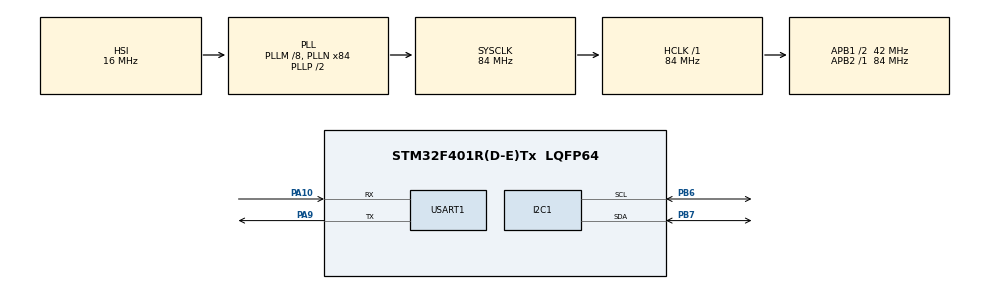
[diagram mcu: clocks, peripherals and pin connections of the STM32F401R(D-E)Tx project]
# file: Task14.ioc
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Mcu.Family=STM32F4
Mcu.Name=STM32F401R(D-E)Tx
Mcu.Package=LQFP64
NVIC.PriorityGroup=NVIC_PRIORITYGROUP_4
PA10.Mode=Asynchronous
PA10.Signal=USART1_RX
PA13.Mode=Serial_Wire
PA13.Signal=SYS_JTMS-SWDIO
PA14.Mode=Serial_Wire
PA14.Signal=SYS_JTCK-SWCLK
PA9.Mode=Asynchronous
PA9.Signal=USART1_TX
PB6.Mode=I2C
PB6.Signal=I2C1_SCL
PB7.Mode=I2C
PB7.Signal=I2C1_SDA
PH0\ -\ OSC_IN.Mode=HSE-External-Clock-Source
PH0\ -\ OSC_IN.Signal=RCC_OSC_IN
PH1\ -\ OSC_OUT.Mode=HSE-External-Clock-Source
PH1\ -\ OSC_OUT.Signal=RCC_OSC_OUT
ProjectManager.HeapSize=0x200
ProjectManager.StackSize=0x400
ProjectManager.TargetToolchain=MDK-ARM V5.32
RCC.48MHZClocksFreq_Value=42000000
RCC.AHBFreq_Value=84000000
RCC.APB1CLKDivider=RCC_HCLK_DIV2
RCC.APB1Freq_Value=42000000
RCC.APB1TimFreq_Value=84000000
RCC.APB2Freq_Value=84000000
RCC.APB2TimFreq_Value=84000000
RCC.CortexFreq_Value=84000000
RCC.HCLKFreq_Value=84000000
RCC.HSE_VALUE=25000000
RCC.HSI_VALUE=16000000
RCC.LSE_VALUE=32768
RCC.PLLM=8
RCC.PLLN=84
RCC.SYSCLKFreq_VALUE=84000000
RCC.SYSCLKSource=RCC_SYSCLKSOURCE_PLLCLK
RCC.VCOOutputFreq_Value=168000000
USART1.VirtualMode=VM_ASYNC
board=custom

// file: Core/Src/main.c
/* USER CODE BEGIN Header */
/**
  ******************************************************************************
  * @file           : main.c
  * @brief          : Main program body
  ******************************************************************************
  * @attention
  *
  * Copyright (c) 2026 STMicroelectronics.
  * All rights reserved.
  *
  * This software is licensed under terms that can be found in the LICENSE file
  * in the root directory of this software component.
  * If no LICENSE file comes with this software, it is provided AS-IS.
  *
  ******************************************************************************
  */
/* USER CODE END Header */

#include "main.h"

/* USER CODE BEGIN Includes */
#include <stdio.h>
#include "ESPLib.h"
#include "bme280.h"
#include "bme280_defs.h"

/* USER CODE END Includes */

I2C_HandleTypeDef hi2c1;

UART_HandleTypeDef huart1;

/* USER CODE BEGIN PV */

struct bme280_dev dev;  // dev -> stores sensor communication config
struct bme280_data comp_data; // stores compensated sensor reading

uint8_t dev_addr = BME280_I2C_ADDR_PRIM;   // I2C inital address

volatile int8_t rslt = BME280_OK;	// Stores success or failure
volatile uint8_t bmeReady = 0; // whether bme is ready or not

volatile double temperature = 0;
volatile double pressure = 0;
volatile double humidity = 0;
char mqttMessage[128];
/* USER CODE END PV */

void SystemClock_Config(void);
static void MX_GPIO_Init(void);
static void MX_I2C1_Init(void);
static void MX_USART1_UART_Init(void);

/* USER CODE BEGIN 0 */

// reads sensor data
int8_t user_i2c_read(uint8_t reg_addr, uint8_t *reg_data,
                     uint32_t len, void *intf_ptr)
{
    uint8_t addr = *(uint8_t *)intf_ptr;

    if (HAL_I2C_Mem_Read(&hi2c1, addr << 1, reg_addr,
                         I2C_MEMADD_SIZE_8BIT, reg_data,
                         (uint16_t)len, 1000) == HAL_OK)
    {
        return BME280_OK;
    }

    return BME280_E_COMM_FAIL;
}

// changes sensor settings
int8_t user_i2c_write(uint8_t reg_addr, const uint8_t *reg_data,
                      uint32_t len, void *intf_ptr)
{
    uint8_t addr = *(uint8_t *)intf_ptr;

    if (HAL_I2C_Mem_Write(&hi2c1, addr << 1, reg_addr,
                          I2C_MEMADD_SIZE_8BIT,
                          (uint8_t *)reg_data,
                          (uint16_t)len, 1000) == HAL_OK)
    {
        return BME280_OK;
    }

    return BME280_E_COMM_FAIL;
}
//  delay function

void user_delay_us(uint32_t period, void *intf_ptr)
{
    (void)intf_ptr;

    if (period > 0)
    {
        HAL_Delay(period / 1000 + (period % 1000 != 0));
    }
}

/* USER CODE END 0 */

int main(void)
{

  /* MCU Configuration--------------------------------------------------------*/

  /* Reset of all peripherals, Initializes the Flash interface and the Systick. */
  HAL_Init();

  /* Configure the system clock */
  SystemClock_Config();

  /* Initialize all configured peripherals */
  MX_GPIO_Init();
  MX_I2C1_Init();
  MX_USART1_UART_Init();

  /* USER CODE BEGIN 2 */

  // 1. Initialize the Wi-Fi module on USART1
  ESP8266_Init(StationMode, huart1);

  // 2. Connect to your local Wi-Fi network (Replace with your Router SSID and Password)
  ESP8266_wifiConnect("YOUR_WIFI_SSID", "YOUR_WIFI_PASSWORD");

  // 3. Connect to your MQTT Broker (Replace with your Broker's IP Address)
  // 1883 is the standard unencrypted MQTT port
  ESP8266_portConnect("TCP", "broker.emqx.io", "1883");

  // 4. Configure the MQTT client connection parameters
  MQTT_InitTypeDef_t mqttSetting;
  //mqttSetting.keepAlive = 500;
  //mqttSetting.connectFlag = CleanSession;
  mqttSetting.clientID = "SNUC_VIKI_F401_87291";
	mqttSetting.keepAlive = 60;
	mqttSetting.connectFlag = CleanSession;

  // 5. Handshake with the MQTT broker
  MQTT_connectBroker(&mqttSetting);
	HAL_Delay(2000);

HAL_Delay(100);

// Check BME280 connection
if (HAL_I2C_IsDeviceReady(&hi2c1, dev_addr << 1, 3, 100) == HAL_OK)
{
    // Configure Bosch API
    dev.intf = BME280_I2C_INTF;
    dev.intf_ptr = &dev_addr;
    dev.read = user_i2c_read;
    dev.write = user_i2c_write;
    dev.delay_us = user_delay_us;

    // Initialize BME280
    rslt = bme280_init(&dev);

    if (rslt == BME280_OK)
    {
        struct bme280_settings settings = {0};

        settings.osr_t = BME280_OVERSAMPLING_1X;
        settings.osr_p = BME280_OVERSAMPLING_1X;
        settings.osr_h = BME280_OVERSAMPLING_1X;
        settings.filter = BME280_FILTER_COEFF_OFF;

        rslt = bme280_set_sensor_settings(
            BME280_SEL_OSR_TEMP |
            BME280_SEL_OSR_PRESS |
            BME280_SEL_OSR_HUM |
            BME280_SEL_FILTER,
            &settings, &dev
        );

        if (rslt == BME280_OK)
        {
            rslt = bme280_set_sensor_mode(
                BME280_POWERMODE_NORMAL, &dev
            );
        }

        if (rslt == BME280_OK)
        {
            bmeReady = 1;
        }
    }
}
else
{
    rslt = BME280_E_DEV_NOT_FOUND;
}

	 MQTT_publishTopic("stm32/leela", "Hi friends ", QoS0);
	 MQTT_publishTopic("stm32/leela", " I am Leelaa Goutham", QoS0);
	 MQTT_publishTopic("stm32/leela", "But I have an another name , Gothic Baddie" , QoS0);

  /* USER CODE END 2 */

  /* Infinite loop */
  while (1)
  {
		if (bmeReady == 1)
    {
        rslt = bme280_get_sensor_data(
            BME280_ALL, &comp_data, &dev
        );

        if (rslt == BME280_OK)
        {
            temperature = comp_data.temperature;
            pressure = comp_data.pressure / 100.0;
            humidity = comp_data.humidity;
        }

				// Prepare JSON data
            snprintf(mqttMessage, sizeof(mqttMessage),
                "{\"status\":\"success\",\"temperature\":%.2f,\"humidity\":%.2f,\"pressure\":%.2f}",
                (double)temperature,
                (double)humidity,
                (double)pressure
							);

				MQTT_publishTopic("stm32/leela", mqttMessage, QoS0);

    }

    HAL_Delay(1000);
    HAL_Delay(1000);

  }
}

void SystemClock_Config(void)
{
  RCC_OscInitTypeDef RCC_OscInitStruct = {0};
  RCC_ClkInitTypeDef RCC_ClkInitStruct = {0};

  /** Configure the main internal regulator output voltage
  */
  __HAL_RCC_PWR_CLK_ENABLE();
  __HAL_PWR_VOLTAGESCALING_CONFIG(PWR_REGULATOR_VOLTAGE_SCALE2);

  /** Initializes the RCC Oscillators according to the specified parameters
  * in the RCC_OscInitTypeDef structure.
  */
  RCC_OscInitStruct.OscillatorType = RCC_OSCILLATORTYPE_HSI;
  RCC_OscInitStruct.HSIState = RCC_HSI_ON;
  RCC_OscInitStruct.HSICalibrationValue = RCC_HSICALIBRATION_DEFAULT;
  RCC_OscInitStruct.PLL.PLLState = RCC_PLL_ON;
  RCC_OscInitStruct.PLL.PLLSource = RCC_PLLSOURCE_HSI;
  RCC_OscInitStruct.PLL.PLLM = 8;
  RCC_OscInitStruct.PLL.PLLN = 84;
  RCC_OscInitStruct.PLL.PLLP = RCC_PLLP_DIV2;
  RCC_OscInitStruct.PLL.PLLQ = 4;

  if (HAL_RCC_OscConfig(&RCC_OscInitStruct) != HAL_OK)
  {
    Error_Handler();
  }

  /** Initializes the CPU, AHB and APB buses clocks
  */
  RCC_ClkInitStruct.ClockType = RCC_CLOCKTYPE_HCLK|RCC_CLOCKTYPE_SYSCLK
                              |RCC_CLOCKTYPE_PCLK1|RCC_CLOCKTYPE_PCLK2;
  RCC_ClkInitStruct.SYSCLKSource = RCC_SYSCLKSOURCE_PLLCLK;
  RCC_ClkInitStruct.AHBCLKDivider = RCC_SYSCLK_DIV1;
  RCC_ClkInitStruct.APB1CLKDivider = RCC_HCLK_DIV2;
  RCC_ClkInitStruct.APB2CLKDivider = RCC_HCLK_DIV1;

  if (HAL_RCC_ClockConfig(&RCC_ClkInitStruct, FLASH_LATENCY_2) != HAL_OK)
  {
    Error_Handler();
  }
}

static void MX_I2C1_Init(void)
{

  hi2c1.Instance = I2C1;
  hi2c1.Init.ClockSpeed = 100000;
  hi2c1.Init.DutyCycle = I2C_DUTYCYCLE_2;
  hi2c1.Init.OwnAddress1 = 0;
  hi2c1.Init.AddressingMode = I2C_ADDRESSINGMODE_7BIT;
  hi2c1.Init.DualAddressMode = I2C_DUALADDRESS_DISABLE;
  hi2c1.Init.OwnAddress2 = 0;
  hi2c1.Init.GeneralCallMode = I2C_GENERALCALL_DISABLE;
  hi2c1.Init.NoStretchMode = I2C_NOSTRETCH_DISABLE;

  if (HAL_I2C_Init(&hi2c1) != HAL_OK)
  {
    Error_Handler();
  }

}

static void MX_USART1_UART_Init(void)
{

  huart1.Instance = USART1;
  huart1.Init.BaudRate = 115200;
  huart1.Init.WordLength = UART_WORDLENGTH_8B;
  huart1.Init.StopBits = UART_STOPBITS_1;
  huart1.Init.Parity = UART_PARITY_NONE;
  huart1.Init.Mode = UART_MODE_TX_RX;
  huart1.Init.HwFlowCtl = UART_HWCONTROL_NONE;
  huart1.Init.OverSampling = UART_OVERSAMPLING_16;

  if (HAL_UART_Init(&huart1) != HAL_OK)
  {
    Error_Handler();
  }

}

static void MX_GPIO_Init(void)
{

  /* GPIO Ports Clock Enable */
  __HAL_RCC_GPIOH_CLK_ENABLE();
  __HAL_RCC_GPIOA_CLK_ENABLE();
  __HAL_RCC_GPIOB_CLK_ENABLE();

}

void Error_Handler(void)
{
  __disable_irq();
  while (1)
  {
  }
}
